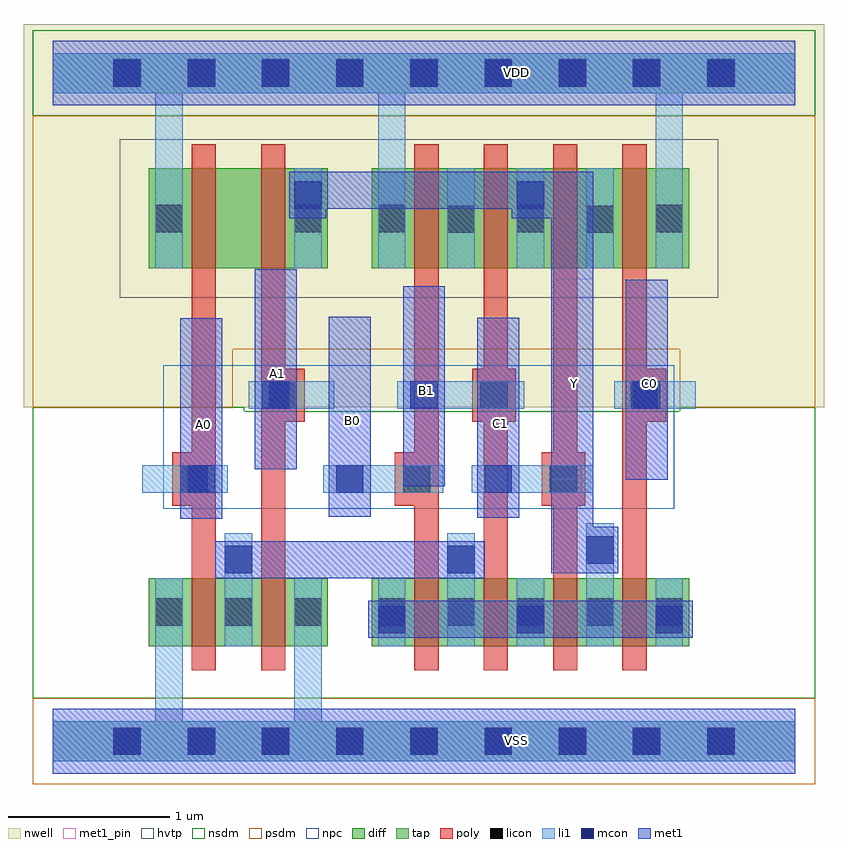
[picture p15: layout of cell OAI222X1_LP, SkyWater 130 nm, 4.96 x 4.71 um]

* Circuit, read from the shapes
.subckt OAI222X1_LP A0 A1 B0 B1 C0 C1 VDD VSS Y
XM1 n1 A0 VSS VSS sky130_fd_pr__nfet_01v8 w=0.42 l=0.15
XM2 VSS A1 n1 VSS sky130_fd_pr__nfet_01v8 w=0.42 l=0.15
XM3 n1 B0 n2 VSS sky130_fd_pr__nfet_01v8 w=0.42 l=0.15
XM4 n2 B1 n1 VSS sky130_fd_pr__nfet_01v8 w=0.42 l=0.15
XM5 Y C1 n2 VSS sky130_fd_pr__nfet_01v8 w=0.42 l=0.15
XM6 n2 C0 Y VSS sky130_fd_pr__nfet_01v8 w=0.42 l=0.15
XM7 n3 A0 VDD VDD sky130_fd_pr__pfet_01v8_hvt w=0.62 l=0.15
XM8 Y A1 n3 VDD sky130_fd_pr__pfet_01v8_hvt w=0.62 l=0.15
XM9 n4 B0 VDD VDD sky130_fd_pr__pfet_01v8_hvt w=0.62 l=0.15
XM10 Y B1 n4 VDD sky130_fd_pr__pfet_01v8_hvt w=0.62 l=0.15
XM11 n5 C1 Y VDD sky130_fd_pr__pfet_01v8_hvt w=0.62 l=0.15
XM12 VDD C0 n5 VDD sky130_fd_pr__pfet_01v8_hvt w=0.62 l=0.15
.ends

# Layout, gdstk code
from math import pi, radians
import gdstk
lib = gdstk.Library(unit=1e-6, precision=1e-09)
def R(c, l, rs):  # rectangles x0, y0, x1, y1
    for r in rs: c.add(gdstk.rectangle(r[:2], r[2:], *l))
def A(c, l, x, y, w, h, nx, ny, dx, dy):  # array of equal rectangles
    R(c, l, [(x+i*dx, y+j*dy, x+i*dx+w, y+j*dy+h) for i in range(nx) for j in range(ny)])
def P(c, l, *ps):  # polygons
    for p in ps: c.add(gdstk.Polygon(p, *l))
nwell = (64, 20)
diff = (65, 20)
tap = (65, 44)
poly = (66, 20)
licon = (66, 44)
li1 = (67, 20)
mcon = (67, 44)
met1_pin = (68, 16)
met1 = (68, 20)
hvtp = (78, 44)
nsdm = (93, 44)
psdm = (94, 20)
npc = (95, 20)

pyl1con_c_cdns_795853916 = lib.new_cell('PYL1CON_C_CDNS_795853916195')
R(pyl1con_c_cdns_795853916, poly, [(-0.135,-0.165,0.135,0.165)])
R(pyl1con_c_cdns_795853916, licon, [(-0.085,-0.085,0.085,0.085)])
R(pyl1con_c_cdns_795853916, npc, [(-0.185,-0.185,0.185,0.185)])

licondiff_c_cdns_7958539 = lib.new_cell('LICONDIFF_C_CDNS_795853916196')
R(licondiff_c_cdns_7958539, diff, [(-0.125,-0.145,0.125,0.145)])
R(licondiff_c_cdns_7958539, licon, [(-0.085,-0.085,0.085,0.085), (-0.085,-0.085,0.085,0.085)])

l1m1_c_cdns_795853916194 = lib.new_cell('L1M1_C_CDNS_795853916194')
R(l1m1_c_cdns_795853916194, li1, [(-0.165,-0.085,0.165,0.085)])
R(l1m1_c_cdns_795853916194, mcon, [(-0.085,-0.085,0.085,0.085)])
R(l1m1_c_cdns_795853916194, met1, [(-0.115,-0.145,0.115,0.145)])

l1m1_c_cdns_795853916198 = lib.new_cell('L1M1_C_CDNS_795853916198')
R(l1m1_c_cdns_795853916198, li1, [(-0.085,-0.165,0.085,0.165)])
R(l1m1_c_cdns_795853916198, mcon, [(-0.085,-0.085,0.085,0.085)])
R(l1m1_c_cdns_795853916198, met1, [(-0.145,-0.115,0.145,0.115)])

l1m1_c_cdns_795853916197 = lib.new_cell('L1M1_C_CDNS_795853916197')
R(l1m1_c_cdns_795853916197, li1, [(-0.085,-0.165,0.085,0.165)])
R(l1m1_c_cdns_795853916197, mcon, [(-0.085,-0.085,0.085,0.085)])
R(l1m1_c_cdns_795853916197, met1, [(-0.115,-0.145,0.115,0.145)])

oai222x1_lp = lib.new_cell('OAI222X1_LP')
R(oai222x1_lp, nwell, [(-0.18,2.07,4.78,4.445)])
R(oai222x1_lp, diff, [(0.595,0.59,1.705,1.01), (1.975,0.59,3.945,1.01), (0.595,2.93,1.705,3.55), (1.975,2.93,3.945,3.55)])
A(oai222x1_lp, poly, 2.24, 0.44, 0.15, 3.26, 4, 1, 0.43, 0)
R(oai222x1_lp, poly, [(0.86,0.44,1.01,3.7), (1.29,0.44,1.44,3.7)])
A(oai222x1_lp, licon, 0.375, -0.085, 0.17, 0.17, 9, 2, 0.46, 4.14)
A(oai222x1_lp, licon, 0.635, 0.715, 0.17, 0.17, 3, 1, 0.43, 0)
A(oai222x1_lp, licon, 2.015, 0.715, 0.17, 0.17, 5, 1, 0.43, 0)
A(oai222x1_lp, licon, 2.015, 3.155, 0.17, 0.17, 3, 1, 0.86, 0)
R(oai222x1_lp, licon, [(0.635,3.155,0.805,3.325), (1.495,3.155,1.665,3.325)])
A(oai222x1_lp, li1, 2.015, 0.59, 0.17, 0.42, 3, 1, 0.43, 0)
A(oai222x1_lp, li1, 2.445, 2.93, 0.17, 0.62, 3, 1, 0.43, 0)
R(oai222x1_lp, li1, [(1.065,0.59,1.235,1.01), (3.305,0.59,3.475,1.185), (3.735,0.59,3.905,1.01), (1.495,2.93,1.665,3.55)])
P(oai222x1_lp, li1, [(0.635,2.93),(0.635,4.015),(0,4.015),(0,4.265),(4.6,4.265),(4.6,4.015),(3.905,4.015),(3.905,2.93),(3.735,2.93),(3.735,4.015),(2.185,4.015),(2.185,2.93),(2.015,2.93),(2.015,4.015),(0.805,4.015),(0.805,2.93)],
  [(0,-0.125),(0,0.125),(0.635,0.125),(0.635,1.01),(0.805,1.01),(0.805,0.125),(1.495,0.125),(1.495,1.01),(1.665,1.01),(1.665,0.125),(4.6,0.125),(4.6,-0.125)])
A(oai222x1_lp, mcon, 0.375, -0.085, 0.17, 0.17, 9, 2, 0.46, 4.14)
R(oai222x1_lp, met1_pin, [(0.79,1.38,1.05,2.62), (2.63,1.385,2.89,2.625), (1.71,1.39,1.97,2.63), (2.17,1.58,2.43,2.82), (3.55,1.62,3.81,2.86), (3.09,1.625,3.35,2.865), (1.25,1.685,1.51,2.925)])
P(oai222x1_lp, met1, [(3.09,1.04),(3.09,3.24),(2.845,3.24),(2.845,3.3),(1.465,3.3),(1.465,3.53),(3.35,3.53),(3.35,1.04)])
R(oai222x1_lp, hvtp, [(0.415,2.75,4.125,3.73)])
R(oai222x1_lp, nsdm, [(-0.125,3.875,4.725,4.405)])
P(oai222x1_lp, nsdm, [(-0.125,0.265),(-0.125,2.07),(1.185,2.07),(1.185,2.045),(3.885,2.045),(3.885,2.07),(4.725,2.07),(4.725,0.265)])
R(oai222x1_lp, psdm, [(-0.125,-0.265,4.725,0.265)])
P(oai222x1_lp, psdm, [(-0.125,2.07),(-0.125,3.875),(4.725,3.875),(4.725,2.07),(3.885,2.07),(3.885,2.43),(1.115,2.43),(1.115,2.07)])
R(oai222x1_lp, npc, [(0.685,1.44,3.85,2.33)])
oai222x1_lp.add(gdstk.FlexPath([(0,4.14),(4.6,4.14)], 0.4, ends="flush", simple_path=True, layer=68, datatype=20))  # met1
oai222x1_lp.add(gdstk.FlexPath([(0,0),(4.6,0)], 0.4, ends="flush", simple_path=True, layer=68, datatype=20))  # met1
oai222x1_lp.add(gdstk.FlexPath([(1.84,1.39),(1.84,2.63)], 0.26, ends="flush", simple_path=True, layer=68, datatype=20))  # met1
oai222x1_lp.add(gdstk.FlexPath([(1.38,1.685),(1.38,2.925)], 0.26, ends="flush", simple_path=True, layer=68, datatype=20))  # met1
oai222x1_lp.add(gdstk.FlexPath([(3.68,1.62),(3.68,2.86)], 0.26, ends="flush", simple_path=True, layer=68, datatype=20))  # met1
oai222x1_lp.add(gdstk.FlexPath([(2.76,1.385),(2.76,2.625)], 0.26, ends="flush", simple_path=True, layer=68, datatype=20))  # met1
oai222x1_lp.add(gdstk.FlexPath([(2.3,1.58),(2.3,2.82)], 0.26, ends="flush", simple_path=True, layer=68, datatype=20))  # met1
oai222x1_lp.add(gdstk.FlexPath([(0.92,1.38),(0.92,2.62)], 0.26, ends="flush", simple_path=True, layer=68, datatype=20))  # met1
oai222x1_lp.add(gdstk.FlexPath([(2.53,1.125),(1.15,1.125)], 0.23, ends="flush", simple_path=True, layer=68, datatype=20))  # met1
oai222x1_lp.add(gdstk.FlexPath([(3.775,0.755),(2.1,0.755)], 0.23, ends="flush", simple_path=True, layer=68, datatype=20))  # met1
oai222x1_lp.add(gdstk.FlexPath([(1.935,1.625),(2.42,1.625)], 0.17, ends="flush", simple_path=True, layer=67, datatype=20))  # li1
oai222x1_lp.add(gdstk.FlexPath([(3.985,2.145),(3.48,2.145)], 0.17, ends="flush", simple_path=True, layer=67, datatype=20))  # li1
oai222x1_lp.add(gdstk.FlexPath([(2.415,2.145),(2.92,2.145)], 0.17, ends="flush", simple_path=True, layer=67, datatype=20))  # li1
oai222x1_lp.add(gdstk.FlexPath([(0.555,1.625),(1.06,1.625)], 0.17, ends="flush", simple_path=True, layer=67, datatype=20))  # li1
oai222x1_lp.add(gdstk.FlexPath([(1.745,2.145),(1.24,2.145)], 0.17, ends="flush", simple_path=True, layer=67, datatype=20))  # li1
oai222x1_lp.add(gdstk.FlexPath([(2.845,1.625),(3.35,1.625)], 0.17, ends="flush", simple_path=True, layer=67, datatype=20))  # li1
oai222x1_lp.add(gdstk.FlexPath([(0,4.14),(4.6,4.14)], 0.25, ends="flush", simple_path=True, layer=65, datatype=44))  # tap
oai222x1_lp.add(gdstk.FlexPath([(0,0),(4.6,0)], 0.25, ends="flush", simple_path=True, layer=65, datatype=44))  # tap
oai222x1_lp.add(gdstk.FlexPath([(0,4.14),(4.6,4.14)], 0.4, ends="flush", simple_path=True, layer=68, datatype=16))  # met1_pin
oai222x1_lp.add(gdstk.FlexPath([(0,0),(4.6,0)], 0.4, ends="flush", simple_path=True, layer=68, datatype=16))  # met1_pin
oai222x1_lp.add(gdstk.Reference(pyl1con_c_cdns_795853916, (3.665,2.145), rotation=pi, x_reflection=True))
oai222x1_lp.add(gdstk.Reference(pyl1con_c_cdns_795853916, (3.165,1.625)))
oai222x1_lp.add(gdstk.Reference(pyl1con_c_cdns_795853916, (1.425,2.145), rotation=pi, x_reflection=True))
oai222x1_lp.add(gdstk.Reference(pyl1con_c_cdns_795853916, (0.875,1.625)))
oai222x1_lp.add(gdstk.Reference(pyl1con_c_cdns_795853916, (2.735,2.145)))
oai222x1_lp.add(gdstk.Reference(pyl1con_c_cdns_795853916, (2.255,1.625)))
oai222x1_lp.add(gdstk.Reference(licondiff_c_cdns_7958539, (2.53,3.235)))
oai222x1_lp.add(gdstk.Reference(licondiff_c_cdns_7958539, (3.39,3.235), rotation=pi, x_reflection=True))
oai222x1_lp.add(gdstk.Reference(l1m1_c_cdns_795853916194, (1.84,1.625), x_reflection=True))
oai222x1_lp.add(gdstk.Reference(l1m1_c_cdns_795853916194, (3.68,2.145), x_reflection=True))
oai222x1_lp.add(gdstk.Reference(l1m1_c_cdns_795853916194, (2.76,1.625), x_reflection=True))
oai222x1_lp.add(gdstk.Reference(l1m1_c_cdns_795853916194, (2.3,2.145), x_reflection=True))
oai222x1_lp.add(gdstk.Reference(l1m1_c_cdns_795853916194, (1.38,2.145), x_reflection=True))
oai222x1_lp.add(gdstk.Reference(l1m1_c_cdns_795853916194, (0.92,1.625), x_reflection=True))
oai222x1_lp.add(gdstk.Reference(l1m1_c_cdns_795853916198, (2.1,0.755)))
oai222x1_lp.add(gdstk.Reference(l1m1_c_cdns_795853916198, (2.53,1.125)))
oai222x1_lp.add(gdstk.Reference(l1m1_c_cdns_795853916198, (2.96,0.755)))
oai222x1_lp.add(gdstk.Reference(l1m1_c_cdns_795853916198, (3.82,0.755)))
oai222x1_lp.add(gdstk.Reference(l1m1_c_cdns_795853916198, (1.15,1.125)))
oai222x1_lp.add(gdstk.Reference(l1m1_c_cdns_795853916197, (2.96,3.385)))
oai222x1_lp.add(gdstk.Reference(l1m1_c_cdns_795853916197, (1.58,3.385)))
oai222x1_lp.add(gdstk.Reference(l1m1_c_cdns_795853916197, (3.39,1.185)))
oai222x1_lp.add(gdstk.Label('VDD', (2.875,4.145), layer=68, texttype=5))
oai222x1_lp.add(gdstk.Label('C0', (3.695,2.215), layer=68, texttype=5))
oai222x1_lp.add(gdstk.Label('B1', (2.315,2.175), layer=68, texttype=5))
oai222x1_lp.add(gdstk.Label('B0', (1.855,1.985), layer=68, texttype=5))
oai222x1_lp.add(gdstk.Label('C1', (2.775,1.97), layer=68, texttype=5))
oai222x1_lp.add(gdstk.Label('VSS', (2.875,0.005), layer=68, texttype=5))
oai222x1_lp.add(gdstk.Label('Y', (3.235,2.22), layer=68, texttype=5))
oai222x1_lp.add(gdstk.Label('A0', (0.935,1.965), layer=68, texttype=5))
oai222x1_lp.add(gdstk.Label('A1', (1.395,2.28), layer=68, texttype=5))

lib.write_gds('OAI222X1_LP.gds')
